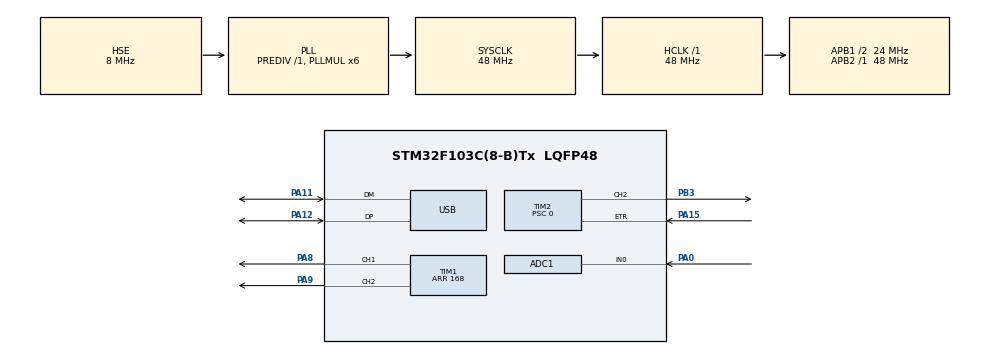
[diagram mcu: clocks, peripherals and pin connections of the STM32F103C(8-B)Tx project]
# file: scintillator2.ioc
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ADC1.Channel-45\#ChannelRegularConversion=ADC_CHANNEL_0
ADC1.ContinuousConvMode=DISABLE
ADC1.DataAlign=ADC_DATAALIGN_RIGHT
ADC1.DiscontinuousConvMode=DISABLE
ADC1.EnableAnalogWatchDog=false
ADC1.EnableRegularConversion=ENABLE
ADC1.ExternalTrigConv=ADC_EXTERNALTRIGCONV_T1_CC2
ADC1.ExternalTrigConvEdgeChoice=RISING
ADC1.InjNumberOfConversion=0
ADC1.NbrOfConversion=1
ADC1.NbrOfConversionFlag=1
ADC1.Rank-45\#ChannelRegularConversion=1
ADC1.SamplingTime-45\#ChannelRegularConversion=ADC_SAMPLETIME_7CYCLES_5
ADC1.ScanConvMode=ADC_SCAN_DISABLE
ADC1.master=1
Dma.ADC1.0.Direction=DMA_PERIPH_TO_MEMORY
Dma.ADC1.0.Instance=DMA1_Channel1
Dma.ADC1.0.MemDataAlignment=DMA_MDATAALIGN_HALFWORD
Dma.ADC1.0.MemInc=DMA_MINC_ENABLE
Dma.ADC1.0.Mode=DMA_CIRCULAR
Dma.ADC1.0.PeriphDataAlignment=DMA_PDATAALIGN_HALFWORD
Dma.ADC1.0.PeriphInc=DMA_PINC_DISABLE
Dma.ADC1.0.Priority=DMA_PRIORITY_LOW
Dma.Request0=ADC1
Mcu.Family=STM32F1
Mcu.Name=STM32F103C(8-B)Tx
Mcu.Package=LQFP48
NVIC.DMA1_Channel1_IRQn=true\:0\:0\:false
NVIC.PriorityGroup=NVIC_PRIORITYGROUP_4
NVIC.USB_LP_CAN1_RX0_IRQn=true\:0\:0\:true
PA0-WKUP.Signal=ADCx_IN0
PA11.Mode=Device
PA11.Signal=USB_DM
PA12.Mode=Device
PA12.Signal=USB_DP
PA13.Mode=Serial_Wire
PA13.Signal=SYS_JTMS-SWDIO
PA14.Mode=Serial_Wire
PA14.Signal=SYS_JTCK-SWCLK
PA15.Signal=S_TIM2_CH1_ETR
PA8.Signal=S_TIM1_CH1
PA9.Signal=S_TIM1_CH2
PB3.Signal=S_TIM2_CH2
PD0-OSC_IN.Mode=HSE-External-Oscillator
PD0-OSC_IN.Signal=RCC_OSC_IN
PD1-OSC_OUT.Mode=HSE-External-Oscillator
PD1-OSC_OUT.Signal=RCC_OSC_OUT
ProjectManager.TargetToolchain=MDK-ARM V4
RCC.ADCPresc=RCC_ADCPCLK2_DIV6
RCC.AHBFreq_Value=48000000
RCC.APB1CLKDivider=RCC_HCLK_DIV2
RCC.APB1Freq_Value=24000000
RCC.APB1TimFreq_Value=48000000
RCC.APB2Freq_Value=48000000
RCC.APB2TimFreq_Value=48000000
RCC.HCLKFreq_Value=48000000
RCC.HSIState=RCC_HSI_ON
RCC.PLLMUL=RCC_PLL_MUL6
RCC.SYSCLKFreq_VALUE=48000000
RCC.SYSCLKSource=RCC_SYSCLKSOURCE_PLLCLK
RCC.USBFreq_Value=48000000
SH.ADCx_IN0.0=ADC1_IN0,IN0
SH.S_TIM1_CH1.0=TIM1_CH1,PWM Generation1 CH1
SH.S_TIM1_CH2.0=TIM1_CH2,PWM Generation2 CH2
SH.S_TIM2_CH1_ETR.0=TIM2_ETR,TriggerSource_ETR
SH.S_TIM2_CH2.0=TIM2_CH2,PWM Generation2 CH2
TIM1.Channel-PWM\ Generation2\ CH2=TIM_CHANNEL_2
TIM1.OCPolarity_1=TIM_OCPOLARITY_LOW
TIM1.OCPolarity_2=TIM_OCPOLARITY_LOW
TIM1.Period=168
TIM1.Pulse-PWM\ Generation1\ CH1=1
TIM1.Pulse-PWM\ Generation2\ CH2=36
TIM1.TIM_MasterOutputTrigger=TIM_TRGO_OC2REF
TIM1.TIM_MasterSlaveMode=TIM_MASTERSLAVEMODE_ENABLE
TIM2.Channel-PWM\ Generation2\ CH2=TIM_CHANNEL_2
TIM2.ClockDivision=TIM_CLOCKDIVISION_DIV1
TIM2.OCFastMode_PWM-PWM\ Generation2\ CH2=TIM_OCFAST_DISABLE
TIM2.OCMode_PWM-PWM\ Generation2\ CH2=TIM_OCMODE_PWM1
TIM2.OCPolarity_2=TIM_OCPOLARITY_LOW
TIM2.Period=144
TIM2.Prescaler=0
TIM2.Pulse-PWM\ Generation2\ CH2=120
TIM2.Slave_TriggerFilter=2
TIM2.TIM_MasterOutputTrigger=TIM_TRGO_ENABLE
TIM2.TIM_MasterSlaveMode=TIM_MASTERSLAVEMODE_ENABLE
USB_DEVICE.USBD_HandleTypeDef=hUsbDeviceFS
USB_DEVICE.USBD_SUPPORT_USER_STRING=0
USB_DEVICE.VirtualMode=Cdc
USB_DEVICE.VirtualModeFS=Cdc_FS
VP_TIM1_VS_ClockSourceINT.Mode=Internal
VP_TIM1_VS_ClockSourceITR.Mode=TriggerSource_ITR1
VP_TIM1_VS_ControllerModeTrigger.Mode=Trigger Mode
VP_TIM1_VS_OPM.Mode=OPM_bit
VP_TIM2_VS_ClockSourceINT.Mode=Internal
VP_TIM2_VS_ControllerModeTrigger.Mode=Trigger Mode
VP_TIM2_VS_OPM.Mode=OPM_bit
VP_USB_DEVICE_VS_USB_DEVICE_CDC_FS.Mode=CDC_FS
board=scintillator2

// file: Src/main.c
/**
  ******************************************************************************
  * File Name          : main.c
  * Description        : Main program body
  ******************************************************************************
  *
  * COPYRIGHT(c) 2016 STMicroelectronics
  *
  * Redistribution and use in source and binary forms, with or without modification,
  * are permitted provided that the following conditions are met:
  *   1. Redistributions of source code must retain the above copyright notice,
  *      this list of conditions and the following disclaimer.
  *   2. Redistributions in binary form must reproduce the above copyright notice,
  *      this list of conditions and the following disclaimer in the documentation
  *      and/or other materials provided with the distribution.
  *   3. Neither the name of STMicroelectronics nor the names of its contributors
  *      may be used to endorse or promote products derived from this software
  *      without specific prior written permission.
  *
  * THIS SOFTWARE IS PROVIDED BY THE COPYRIGHT HOLDERS AND CONTRIBUTORS "AS IS"
  * AND ANY EXPRESS OR IMPLIED WARRANTIES, INCLUDING, BUT NOT LIMITED TO, THE
  * IMPLIED WARRANTIES OF MERCHANTABILITY AND FITNESS FOR A PARTICULAR PURPOSE ARE
  * DISCLAIMED. IN NO EVENT SHALL THE COPYRIGHT HOLDER OR CONTRIBUTORS BE LIABLE
  * FOR ANY DIRECT, INDIRECT, INCIDENTAL, SPECIAL, EXEMPLARY, OR CONSEQUENTIAL
  * DAMAGES (INCLUDING, BUT NOT LIMITED TO, PROCUREMENT OF SUBSTITUTE GOODS OR
  * SERVICES; LOSS OF USE, DATA, OR PROFITS; OR BUSINESS INTERRUPTION) HOWEVER
  * CAUSED AND ON ANY THEORY OF LIABILITY, WHETHER IN CONTRACT, STRICT LIABILITY,
  * OR TORT (INCLUDING NEGLIGENCE OR OTHERWISE) ARISING IN ANY WAY OUT OF THE USE
  * OF THIS SOFTWARE, EVEN IF ADVISED OF THE POSSIBILITY OF SUCH DAMAGE.
  *
  ******************************************************************************
  */
#include "stm32f1xx_hal.h"
#include "usb_device.h"

/* USER CODE BEGIN Includes */
#include "usbd_cdc_if.h"
/* USER CODE END Includes */

ADC_HandleTypeDef hadc1;
DMA_HandleTypeDef hdma_adc1;

TIM_HandleTypeDef htim1;
TIM_HandleTypeDef htim2;

/* USER CODE BEGIN PV */
/* Private variables ---------------------------------------------------------*/

/* USER CODE END PV */

void SystemClock_Config(void);
static void MX_GPIO_Init(void);
static void MX_DMA_Init(void);
static void MX_ADC1_Init(void);
static void MX_TIM1_Init(void);
static void MX_TIM2_Init(void);

/* USER CODE BEGIN PFP */
/* Private function prototypes -----------------------------------------------*/

/* USER CODE END PFP */

/* USER CODE BEGIN 0 */
const uint8_t BufSize = 50;
volatile uint16_t dma_arr[BufSize];
volatile uint32_t total = 0;
volatile uint16_t spectr[4096];

void delay(uint32_t ck) {
	volatile uint32_t counter = ck;
	while(counter--);
}

void HAL_ADC_ConvCpltCallback(ADC_HandleTypeDef* AdcHandle)
{
for(int i = BufSize/2; i < BufSize; i++) spectr[dma_arr[i]] +=1;
total +=BufSize/2;
}

void HAL_ADC_ConvHalfCpltCallback(ADC_HandleTypeDef* AdcHandle)
{
	for(int i = 0; i < BufSize/2; i++) spectr[dma_arr[i]] +=1;
	total +=BufSize/2;
}

void USB_sprintf( char* s, uint32_t dig){
		char buf[10];
		memset(buf,0,10);
		sprintf(buf,s,dig);
		CDC_Transmit_FS((uint8_t*)(buf), strlen(buf));
};
/* USER CODE END 0 */

int main(void)
{

  /* MCU Configuration----------------------------------------------------------*/

  /* Reset of all peripherals, Initializes the Flash interface and the Systick. */
  HAL_Init();

  /* Configure the system clock */
  SystemClock_Config();

  /* Initialize all configured peripherals */
  MX_GPIO_Init();
  MX_DMA_Init();
  MX_ADC1_Init();
  MX_TIM1_Init();
  MX_TIM2_Init();
  MX_USB_DEVICE_Init();

  /* USER CODE BEGIN 2 */
	HAL_ADCEx_Calibration_Start(&hadc1);
	total = 0;

	HAL_TIM_OnePulse_Start(&htim2,TIM_CHANNEL_2); //ext IT to reset integrator after adc
	HAL_TIM_OnePulse_Start(&htim1,TIM_CHANNEL_1); //pulse to LATCH comparator
	HAL_TIM_OnePulse_Start(&htim1,TIM_CHANNEL_2); //pulse to event start ADC
	HAL_ADC_Start_DMA(&hadc1,(uint32_t*)dma_arr,BufSize);
  /* USER CODE END 2 */

  /* Infinite loop */
  /* USER CODE BEGIN WHILE */
  while (1)
  {
		total = 0;
		for(int i = 0; i < 4096; i++) spectr[i] = 0;
		HAL_ADC_Start_DMA(&hadc1,(uint32_t*)dma_arr,BufSize);
		HAL_Delay(1000);
		HAL_ADC_Stop_DMA(&hadc1);

		USB_sprintf("<%X>[",total);
		for(int i = 0; i < 4095; i++) USB_sprintf("%X,",spectr[i]);
		USB_sprintf("%X]\n",spectr[4095]);

  /* USER CODE END WHILE */

  }

}

/** System Clock Configuration
*/
void SystemClock_Config(void)
{

  RCC_OscInitTypeDef RCC_OscInitStruct;
  RCC_ClkInitTypeDef RCC_ClkInitStruct;
  RCC_PeriphCLKInitTypeDef PeriphClkInit;

  RCC_OscInitStruct.OscillatorType = RCC_OSCILLATORTYPE_HSE;
  RCC_OscInitStruct.HSEState = RCC_HSE_ON;
  RCC_OscInitStruct.HSEPredivValue = RCC_HSE_PREDIV_DIV1;
  RCC_OscInitStruct.PLL.PLLState = RCC_PLL_ON;
  RCC_OscInitStruct.PLL.PLLSource = RCC_PLLSOURCE_HSE;
  RCC_OscInitStruct.PLL.PLLMUL = RCC_PLL_MUL6;
  HAL_RCC_OscConfig(&RCC_OscInitStruct);

  RCC_ClkInitStruct.ClockType = RCC_CLOCKTYPE_SYSCLK|RCC_CLOCKTYPE_PCLK1;
  RCC_ClkInitStruct.SYSCLKSource = RCC_SYSCLKSOURCE_PLLCLK;
  RCC_ClkInitStruct.AHBCLKDivider = RCC_SYSCLK_DIV1;
  RCC_ClkInitStruct.APB1CLKDivider = RCC_HCLK_DIV2;
  RCC_ClkInitStruct.APB2CLKDivider = RCC_HCLK_DIV1;
  HAL_RCC_ClockConfig(&RCC_ClkInitStruct, FLASH_LATENCY_1);

  PeriphClkInit.PeriphClockSelection = RCC_PERIPHCLK_ADC|RCC_PERIPHCLK_USB;
  PeriphClkInit.AdcClockSelection = RCC_ADCPCLK2_DIV6;
  PeriphClkInit.UsbClockSelection = RCC_USBPLLCLK_DIV1;
  HAL_RCCEx_PeriphCLKConfig(&PeriphClkInit);

  HAL_SYSTICK_Config(HAL_RCC_GetHCLKFreq()/1000);

  HAL_SYSTICK_CLKSourceConfig(SYSTICK_CLKSOURCE_HCLK);

  /* SysTick_IRQn interrupt configuration */
  HAL_NVIC_SetPriority(SysTick_IRQn, 0, 0);
}

/* ADC1 init function */
void MX_ADC1_Init(void)
{

  ADC_ChannelConfTypeDef sConfig;

    /**Common config
    */
  hadc1.Instance = ADC1;
  hadc1.Init.ScanConvMode = ADC_SCAN_DISABLE;
  hadc1.Init.ContinuousConvMode = DISABLE;
  hadc1.Init.DiscontinuousConvMode = DISABLE;
  hadc1.Init.ExternalTrigConv = ADC_EXTERNALTRIGCONV_T1_CC2;
  hadc1.Init.DataAlign = ADC_DATAALIGN_RIGHT;
  hadc1.Init.NbrOfConversion = 1;
  HAL_ADC_Init(&hadc1);

    /**Configure Regular Channel
    */
  sConfig.Channel = ADC_CHANNEL_0;
  sConfig.Rank = 1;
  sConfig.SamplingTime = ADC_SAMPLETIME_7CYCLES_5;
  HAL_ADC_ConfigChannel(&hadc1, &sConfig);

}

/* TIM1 init function */
void MX_TIM1_Init(void)
{

  TIM_ClockConfigTypeDef sClockSourceConfig;
  TIM_SlaveConfigTypeDef sSlaveConfig;
  TIM_MasterConfigTypeDef sMasterConfig;
  TIM_BreakDeadTimeConfigTypeDef sBreakDeadTimeConfig;
  TIM_OC_InitTypeDef sConfigOC;

  htim1.Instance = TIM1;
  htim1.Init.Prescaler = 0;
  htim1.Init.CounterMode = TIM_COUNTERMODE_UP;
  htim1.Init.Period = 168;
  htim1.Init.ClockDivision = TIM_CLOCKDIVISION_DIV1;
  htim1.Init.RepetitionCounter = 0;
  HAL_TIM_Base_Init(&htim1);

  sClockSourceConfig.ClockSource = TIM_CLOCKSOURCE_INTERNAL;
  HAL_TIM_ConfigClockSource(&htim1, &sClockSourceConfig);

  HAL_TIM_PWM_Init(&htim1);

  HAL_TIM_OnePulse_Init(&htim1, TIM_OPMODE_SINGLE);

  sSlaveConfig.SlaveMode = TIM_SLAVEMODE_TRIGGER;
  sSlaveConfig.InputTrigger = TIM_TS_ITR1;
  HAL_TIM_SlaveConfigSynchronization(&htim1, &sSlaveConfig);

  sMasterConfig.MasterOutputTrigger = TIM_TRGO_OC2REF;
  sMasterConfig.MasterSlaveMode = TIM_MASTERSLAVEMODE_ENABLE;
  HAL_TIMEx_MasterConfigSynchronization(&htim1, &sMasterConfig);

  sBreakDeadTimeConfig.OffStateRunMode = TIM_OSSR_DISABLE;
  sBreakDeadTimeConfig.OffStateIDLEMode = TIM_OSSI_DISABLE;
  sBreakDeadTimeConfig.LockLevel = TIM_LOCKLEVEL_OFF;
  sBreakDeadTimeConfig.DeadTime = 0;
  sBreakDeadTimeConfig.BreakState = TIM_BREAK_DISABLE;
  sBreakDeadTimeConfig.BreakPolarity = TIM_BREAKPOLARITY_HIGH;
  sBreakDeadTimeConfig.AutomaticOutput = TIM_AUTOMATICOUTPUT_DISABLE;
  HAL_TIMEx_ConfigBreakDeadTime(&htim1, &sBreakDeadTimeConfig);

  sConfigOC.OCMode = TIM_OCMODE_PWM1;
  sConfigOC.Pulse = 1;
  sConfigOC.OCPolarity = TIM_OCPOLARITY_LOW;
  sConfigOC.OCNPolarity = TIM_OCNPOLARITY_HIGH;
  sConfigOC.OCFastMode = TIM_OCFAST_DISABLE;
  sConfigOC.OCIdleState = TIM_OCIDLESTATE_RESET;
  sConfigOC.OCNIdleState = TIM_OCNIDLESTATE_RESET;
  HAL_TIM_PWM_ConfigChannel(&htim1, &sConfigOC, TIM_CHANNEL_1);

  sConfigOC.Pulse = 36;
  HAL_TIM_PWM_ConfigChannel(&htim1, &sConfigOC, TIM_CHANNEL_2);

}

/* TIM2 init function */
void MX_TIM2_Init(void)
{

  TIM_ClockConfigTypeDef sClockSourceConfig;
  TIM_SlaveConfigTypeDef sSlaveConfig;
  TIM_MasterConfigTypeDef sMasterConfig;
  TIM_OC_InitTypeDef sConfigOC;

  htim2.Instance = TIM2;
  htim2.Init.Prescaler = 0;
  htim2.Init.CounterMode = TIM_COUNTERMODE_UP;
  htim2.Init.Period = 144;
  htim2.Init.ClockDivision = TIM_CLOCKDIVISION_DIV1;
  HAL_TIM_Base_Init(&htim2);

  sClockSourceConfig.ClockSource = TIM_CLOCKSOURCE_INTERNAL;
  HAL_TIM_ConfigClockSource(&htim2, &sClockSourceConfig);

  HAL_TIM_PWM_Init(&htim2);

  HAL_TIM_OnePulse_Init(&htim2, TIM_OPMODE_SINGLE);

  sSlaveConfig.SlaveMode = TIM_SLAVEMODE_TRIGGER;
  sSlaveConfig.InputTrigger = TIM_TS_ETRF;
  sSlaveConfig.TriggerPolarity = TIM_TRIGGERPOLARITY_NONINVERTED;
  sSlaveConfig.TriggerPrescaler = TIM_TRIGGERPRESCALER_DIV1;
  sSlaveConfig.TriggerFilter = 2;
  HAL_TIM_SlaveConfigSynchronization(&htim2, &sSlaveConfig);

  sMasterConfig.MasterOutputTrigger = TIM_TRGO_ENABLE;
  sMasterConfig.MasterSlaveMode = TIM_MASTERSLAVEMODE_ENABLE;
  HAL_TIMEx_MasterConfigSynchronization(&htim2, &sMasterConfig);

  sConfigOC.OCMode = TIM_OCMODE_PWM1;
  sConfigOC.Pulse = 120;
  sConfigOC.OCPolarity = TIM_OCPOLARITY_LOW;
  sConfigOC.OCFastMode = TIM_OCFAST_DISABLE;
  HAL_TIM_PWM_ConfigChannel(&htim2, &sConfigOC, TIM_CHANNEL_2);

}

void MX_DMA_Init(void)
{
  /* DMA controller clock enable */
  __HAL_RCC_DMA1_CLK_ENABLE();

  /* DMA interrupt init */
  HAL_NVIC_SetPriority(DMA1_Channel1_IRQn, 0, 0);
  HAL_NVIC_EnableIRQ(DMA1_Channel1_IRQn);

}

/** Configure pins as
        * Analog
        * Input
        * Output
        * EVENT_OUT
        * EXTI
*/
void MX_GPIO_Init(void)
{

  /* GPIO Ports Clock Enable */
  __GPIOD_CLK_ENABLE();
  __GPIOA_CLK_ENABLE();
  __GPIOB_CLK_ENABLE();

}

/************************ (C) COPYRIGHT STMicroelectronics *****END OF FILE****/
